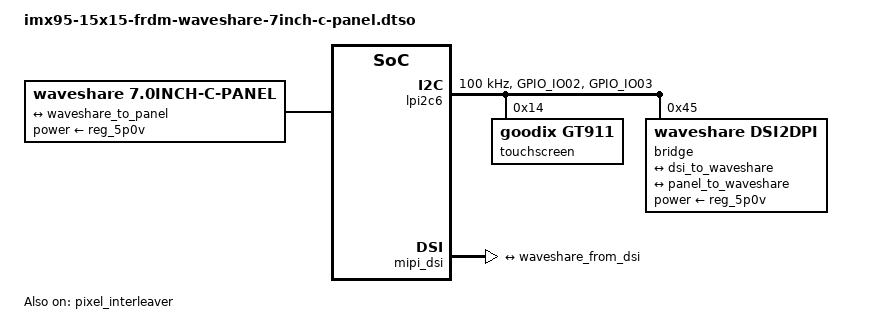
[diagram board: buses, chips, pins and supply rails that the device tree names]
// SPDX-License-Identifier: (GPL-2.0+ OR MIT)
/*
 * Copyright 2025 NXP
 */

#include "imx95-clock.h"
#include "imx95-pinfunc.h"

/dts-v1/;
/plugin/;

&{/} {
	panel {
		compatible = "waveshare,7.0inch-c-panel", "panel-dpi";
		power-supply = <&reg_5p0v>;

		port {
			panel_to_waveshare: endpoint {
				remote-endpoint = <&waveshare_to_panel>;
			};
		};

		panel-timing {
			clock-frequency = <50000000>;
			hactive = <1024>;
			vactive = <600>;
			hfront-porch = <100>;
			hback-porch = <100>;
			hsync-len = <100>;
			vback-porch = <10>;
			vfront-porch = <10>;
			vsync-len = <10>;

			hsync-active = <0>;
			vsync-active = <0>;
			de-active = <1>;
			pixelclk-active = <1>;
		};
	};
};

&dpu {
	assigned-clocks = <&scmi_clk IMX95_CLK_DISP1PIX>,
			  <&scmi_clk IMX95_CLK_VIDEOPLL1_VCO>,
			  <&scmi_clk IMX95_CLK_VIDEOPLL1>;
	assigned-clock-parents = <&scmi_clk IMX95_CLK_VIDEOPLL1>;
	assigned-clock-rates = <0>, <3000000000>, <500000000>;
};

&lpi2c6 {
	#address-cells = <1>;
	#size-cells = <0>;
	clock-frequency = <100000>;
	pinctrl-names = "default";
	pinctrl-0 = <&pinctrl_lpi2c6>;
	status = "okay";

	touchscreen@14 {
		compatible = "goodix,gt911";
		reg = <0x14>;
		touchscreen-size-x = <800>;
		touchscreen-size-y = <480>;
	};

	bridge@45 {
		compatible = "waveshare,dsi2dpi";
		reg = <0x45>;
		power-supply = <&reg_5p0v>;

		ports {
			#address-cells = <1>;
			#size-cells = <0>;

			port@0 {
				reg = <0>;

				waveshare_from_dsi: endpoint {
					data-lanes = <1 2>;
					remote-endpoint = <&dsi_to_waveshare>;
				};
			};

			port@1 {
				reg = <1>;

				waveshare_to_panel: endpoint {
					remote-endpoint = <&panel_to_waveshare>;
				};
			};
		};
	};
};

&mipi_dsi {
	status = "okay";

	ports {
		#address-cells = <1>;
		#size-cells = <0>;

		port@1 {
			reg = <1>;

			dsi_to_waveshare: endpoint {
				remote-endpoint = <&waveshare_from_dsi>;
			};
		};
	};
};

&pixel_interleaver {
	#address-cells = <1>;
	#size-cells = <0>;
	status = "okay";

	channel@0 {
		reg = <0>;
		status = "okay";
	};
};

&scmi_iomuxc {
	pinctrl_lpi2c6: lpi2c6grp {
		fsl,pins = <
			IMX95_PAD_GPIO_IO02__LPI2C6_SDA			0x40000b9e
			IMX95_PAD_GPIO_IO03__LPI2C6_SCL			0x40000b9e
		>;
	};
};
